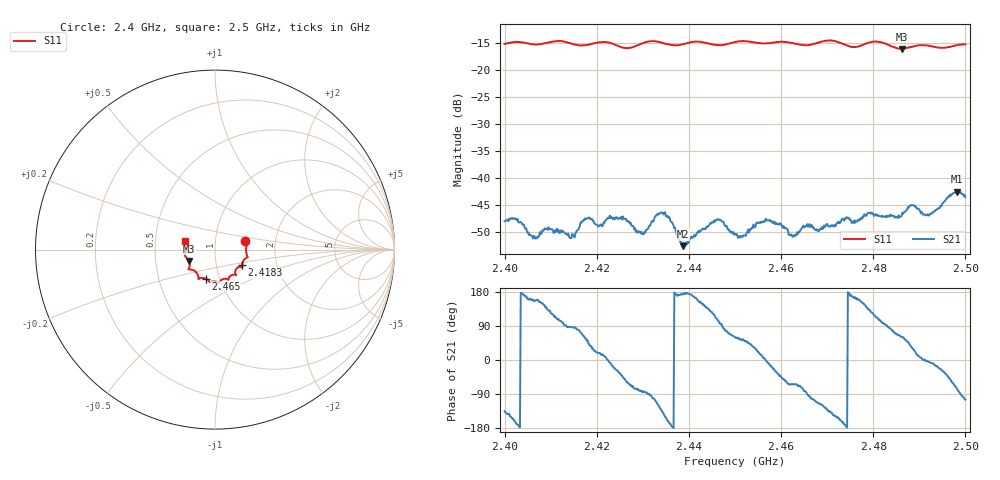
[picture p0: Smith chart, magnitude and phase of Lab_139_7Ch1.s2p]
# Hz S RI R 50
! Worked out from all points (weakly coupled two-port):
!   601 points, 2.4 GHz to 2.5 GHz, reference 50 ohm
!   highest |S21| = -42.56 dB at 2.4982 GHz (marker M1); lowest = -52.7 dB at 2.4387 GHz (marker M2)
!   lowest |S11| = -16.0 dB at 2.4862 GHz (marker M3), VSWR 1.37, Z = 37.1 - j4.81 ohm
!   |S11| at or under -10 dB: start of sweep to end of sweep
!   S12 and S22 are empty: the file has one direction only
!   S11 on the Smith chart (normalised r, x): 2.4 GHz: 1.40, +0.13; 2.4183 GHz: 1.33, -0.24; 2.465 GHz: 0.86, -0.29; 2.5 GHz: 0.71, +0.07
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2.4e9  0.1689 0.0459  -0.00281 -0.0028  0 0  0 0
2.406667e9  0.1727 0.00099  -0.0025 0.0011  0 0  0 0
2.414667e9  0.168 -0.0505  0.000166 0.00302  0 0  0 0
2.416667e9  0.1549 -0.0684  0.00127 0.00363  0 0  0 0
2.418333e9  0.1497 -0.0869  0.00324 0.00283  0 0  0 0
2.425833e9  0.1266 -0.0997  0.00286 -0.00309  0 0  0 0
2.43e9  0.1139 -0.1369  0.000258 -0.00302  0 0  0 0
2.433333e9  0.1168 -0.1414  -0.00218 -0.00402  0 0  0 0
2.435333e9  0.1052 -0.1389  -0.00418 -0.00156  0 0  0 0
2.438667e9  0.079 -0.1548  -0.00231 0.000294  0 0  0 0
2.446e9  0.0529 -0.1625  -0.00136 0.00387  0 0  0 0
2.45e9  0.0251 -0.1807  0.00149 0.00263  0 0  0 0
2.457e9  -0.0101 -0.1773  0.00399 -0.00038  0 0  0 0
2.462333e9  -0.0336 -0.1757  0.00134 -0.00262  0 0  0 0
2.465e9  -0.0527 -0.1621  0.000464 -0.00345  0 0  0 0
2.466667e9  -0.0713 -0.1575  -0.000748 -0.00357  0 0  0 0
2.483333e9  -0.1419 -0.0958  0.000279 0.00446  0 0  0 0
2.486167e9  -0.1445 -0.0632  0.00217 0.0039  0 0  0 0
2.488333e9  -0.159 -0.0443  0.00463 0.00306  0 0  0 0
2.4925e9  -0.1654 -0.0238  0.00461 -0.000637  0 0  0 0
2.498167e9  -0.1668 0.0373  0.00175 -0.00723  0 0  0 0
2.5e9  -0.1667 0.0474  -0.00166 -0.00643  0 0  0 0
